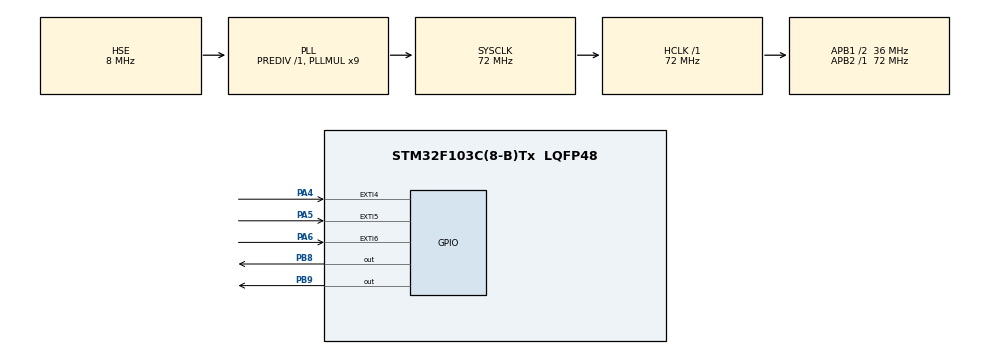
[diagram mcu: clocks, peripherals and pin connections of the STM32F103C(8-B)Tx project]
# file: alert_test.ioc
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Mcu.Family=STM32F1
Mcu.Name=STM32F103C(8-B)Tx
Mcu.Package=LQFP48
NVIC.EXTI4_IRQn=true\:4\:0\:true\:false\:true\:true\:true\:true
NVIC.EXTI9_5_IRQn=true\:4\:0\:true\:false\:true\:true\:true\:true
NVIC.PriorityGroup=NVIC_PRIORITYGROUP_4
PA13.Mode=Serial_Wire
PA13.Signal=SYS_JTMS-SWDIO
PA14.Mode=Serial_Wire
PA14.Signal=SYS_JTCK-SWCLK
PA4.GPIO_ModeDefaultEXTI=GPIO_MODE_IT_FALLING
PA4.Signal=GPXTI4
PA5.Signal=GPXTI5
PA6.Signal=GPXTI6
PB8.PinState=GPIO_PIN_SET
PB8.Signal=GPIO_Output
PB9.PinState=GPIO_PIN_SET
PB9.Signal=GPIO_Output
PD0-OSC_IN.Mode=HSE-External-Oscillator
PD0-OSC_IN.Signal=RCC_OSC_IN
PD1-OSC_OUT.Mode=HSE-External-Oscillator
PD1-OSC_OUT.Signal=RCC_OSC_OUT
ProjectManager.HeapSize=0x200
ProjectManager.StackSize=0x400
ProjectManager.TargetToolchain=MDK-ARM V5.32
RCC.AHBFreq_Value=72000000
RCC.APB1CLKDivider=RCC_HCLK_DIV2
RCC.APB1Freq_Value=36000000
RCC.APB1TimFreq_Value=72000000
RCC.APB2Freq_Value=72000000
RCC.APB2TimFreq_Value=72000000
RCC.HCLKFreq_Value=72000000
RCC.PLLMUL=RCC_PLL_MUL9
RCC.PLLSourceVirtual=RCC_PLLSOURCE_HSE
RCC.SYSCLKFreq_VALUE=72000000
RCC.SYSCLKSource=RCC_SYSCLKSOURCE_PLLCLK
RCC.USBFreq_Value=72000000
board=custom

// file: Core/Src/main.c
/* USER CODE BEGIN Header */
/**
  ******************************************************************************
  * @file           : main.c
  * @brief          : Main program body
  ******************************************************************************
  * @attention
  *
  * Copyright (c) 2026 STMicroelectronics.
  * All rights reserved.
  *
  * This software is licensed under terms that can be found in the LICENSE file
  * in the root directory of this software component.
  * If no LICENSE file comes with this software, it is provided AS-IS.
  *
  ******************************************************************************
  */
/* USER CODE END Header */
#include "main.h"
#include "gpio.h"

/* USER CODE BEGIN Includes */
/**
  * @brief  EXTI line detection callbacks.
  * @param  GPIO_Pin: Specifies the pins connected EXTI line
  * @retval None
  */
void HAL_GPIO_EXTI_Callback(uint16_t GPIO_Pin)
{
  switch(GPIO_Pin) {
      // PA 5 被拉高,按键A被按下
      case GPIO_PIN_5:
          // 则将PB8 拉低 LED1亮1s
        if(GPIO_Pin == GPIO_PIN_5) {
            if (HAL_GPIO_ReadPin(GPIOA, GPIO_PIN_5) == GPIO_PIN_SET) {
                HAL_GPIO_WritePin(GPIOB, GPIO_PIN_8, GPIO_PIN_RESET);
                HAL_Delay(1000);
                HAL_GPIO_WritePin(GPIOB, GPIO_PIN_8, GPIO_PIN_SET);
            } else {
                HAL_GPIO_WritePin(GPIOB, GPIO_PIN_8, GPIO_PIN_SET);
            }
        }
        break;
      // PA 6 被拉高,按键B被按下
      case GPIO_PIN_6:
          // 则PB9 拉低, LED2亮1s
          if(GPIO_Pin == GPIO_PIN_6) {
                if (HAL_GPIO_ReadPin(GPIOA, GPIO_PIN_6) == GPIO_PIN_SET) {
                    HAL_GPIO_WritePin(GPIOB, GPIO_PIN_9, GPIO_PIN_RESET);
                    HAL_Delay(1000);
                    HAL_GPIO_WritePin(GPIOB, GPIO_PIN_9, GPIO_PIN_SET);
                } else {
                    HAL_GPIO_WritePin(GPIOB, GPIO_PIN_9, GPIO_PIN_SET);
                }
            }
          break;
  }

}

/* USER CODE END Includes */

void SystemClock_Config(void);

int main(void)
{

  /* MCU Configuration--------------------------------------------------------*/

  /* Reset of all peripherals, Initializes the Flash interface and the Systick. */
  HAL_Init();

  /* Configure the system clock */
  SystemClock_Config();

  /* USER CODE BEGIN SysInit */
   // 滴答定时器优先级0
  HAL_NVIC_SetPriority(SysTick_IRQn, 0, 0);
  /* USER CODE END SysInit */

  /* Initialize all configured peripherals */
  MX_GPIO_Init();

  /* Infinite loop */
  while (1)
  {

  }
}

void SystemClock_Config(void)
{
  RCC_OscInitTypeDef RCC_OscInitStruct = {0};
  RCC_ClkInitTypeDef RCC_ClkInitStruct = {0};

  /** Initializes the RCC Oscillators according to the specified parameters
  * in the RCC_OscInitTypeDef structure.
  */
  RCC_OscInitStruct.OscillatorType = RCC_OSCILLATORTYPE_HSE;
  RCC_OscInitStruct.HSEState = RCC_HSE_ON;
  RCC_OscInitStruct.HSEPredivValue = RCC_HSE_PREDIV_DIV1;
  RCC_OscInitStruct.HSIState = RCC_HSI_ON;
  RCC_OscInitStruct.PLL.PLLState = RCC_PLL_ON;
  RCC_OscInitStruct.PLL.PLLSource = RCC_PLLSOURCE_HSE;
  RCC_OscInitStruct.PLL.PLLMUL = RCC_PLL_MUL9;
  if (HAL_RCC_OscConfig(&RCC_OscInitStruct) != HAL_OK)
  {
    Error_Handler();
  }

  /** Initializes the CPU, AHB and APB buses clocks
  */
  RCC_ClkInitStruct.ClockType = RCC_CLOCKTYPE_HCLK|RCC_CLOCKTYPE_SYSCLK
                              |RCC_CLOCKTYPE_PCLK1|RCC_CLOCKTYPE_PCLK2;
  RCC_ClkInitStruct.SYSCLKSource = RCC_SYSCLKSOURCE_PLLCLK;
  RCC_ClkInitStruct.AHBCLKDivider = RCC_SYSCLK_DIV1;
  RCC_ClkInitStruct.APB1CLKDivider = RCC_HCLK_DIV2;
  RCC_ClkInitStruct.APB2CLKDivider = RCC_HCLK_DIV1;

  if (HAL_RCC_ClockConfig(&RCC_ClkInitStruct, FLASH_LATENCY_2) != HAL_OK)
  {
    Error_Handler();
  }
}

void Error_Handler(void)
{
  __disable_irq();
  while (1)
  {
  }
}
